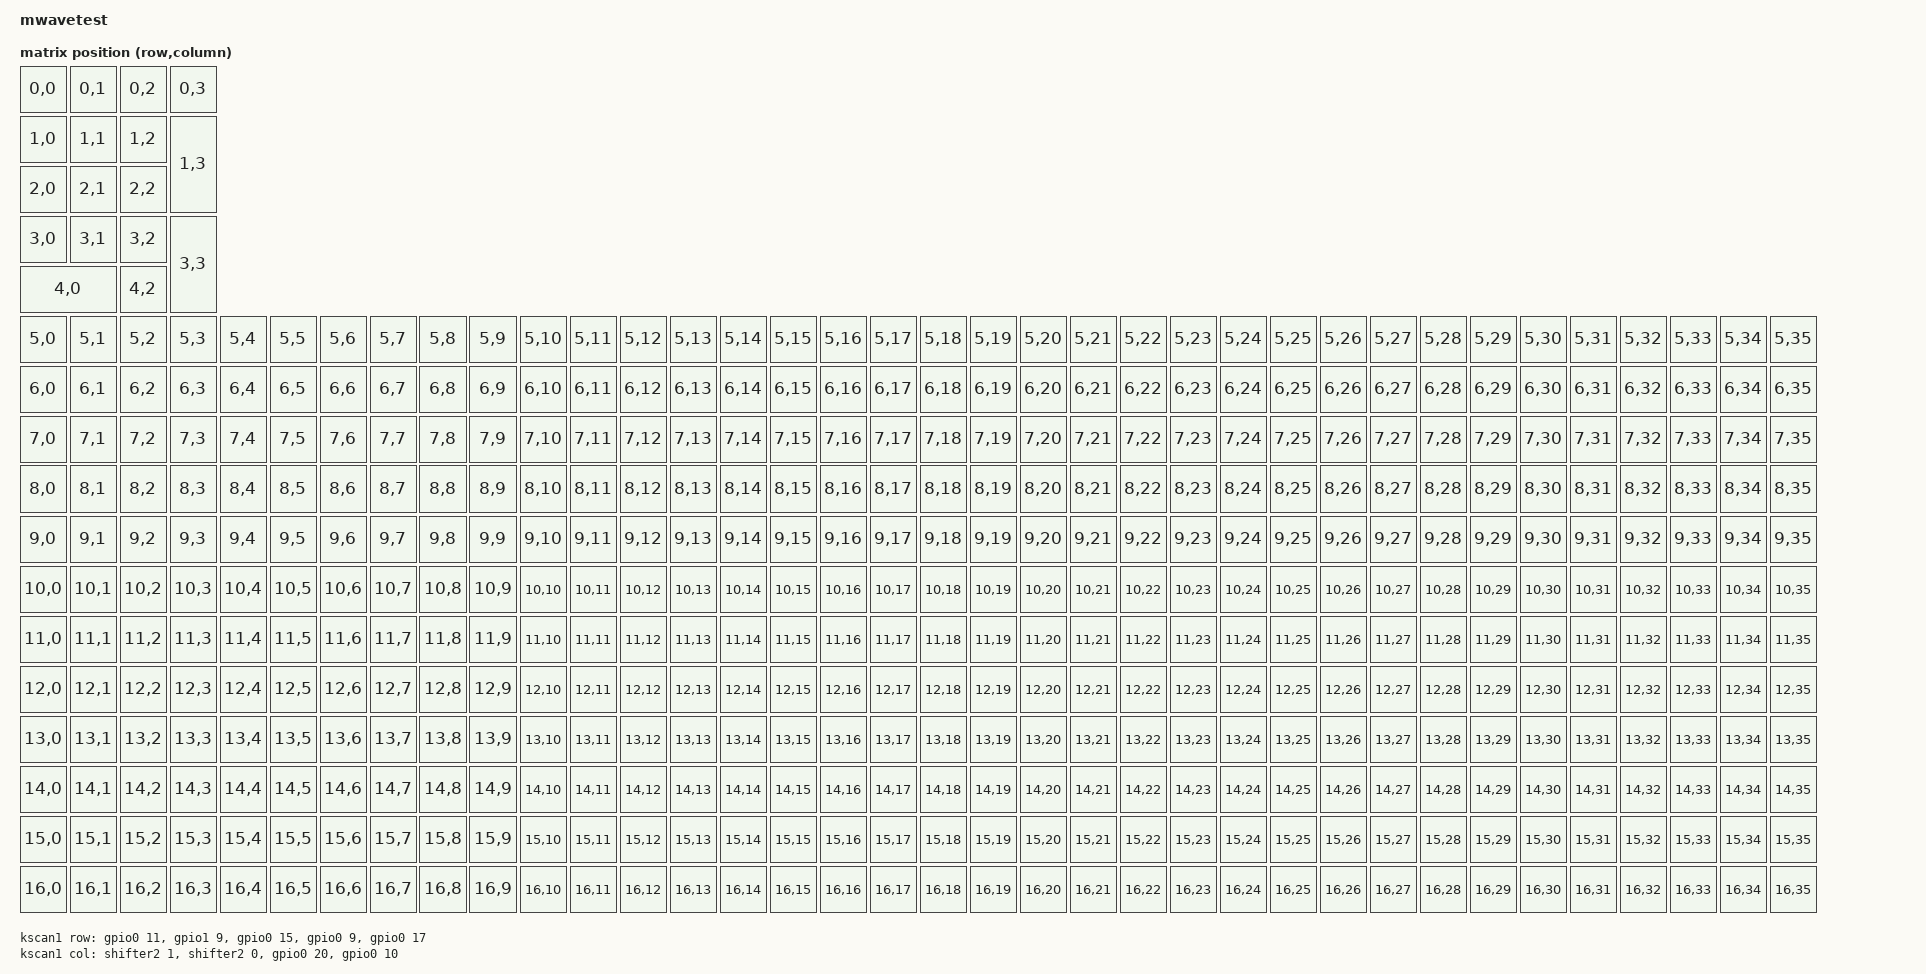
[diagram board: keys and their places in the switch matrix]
/dts-v1/;

 #include "lcp_33.dtsi"
 #include "mwave_transform.dtsi"
 #include <physical_layouts.dtsi>

 / {
     model = "mwavetest";
     compatible = "kinesis,mwavetest";
 
     chosen {
         zmk,physical-layout = &layout_0;
         zmk,indicators = &led_strip_1;
     };

    vbatt: vbatt {
        compatible = "kinesis,battery-voltage-divider";
        io-channels = <&adc 6>;
        output-ohms = <3000000>;
        full-ohms = <(2000000 + 3000000)>;
        chemistry = <ALKALINE>;
    };
   kscan1: kscan_1 {
         compatible = "zmk,kscan-gpio-matrix";
         wakeup-source;
 
         diode-direction = "col2row";
 
         col-gpios
             = <&shifter2 1 GPIO_ACTIVE_HIGH>
             , <&shifter2 0 GPIO_ACTIVE_HIGH>
             , <&gpio0 20 GPIO_ACTIVE_HIGH>
             , <&gpio0 10 GPIO_ACTIVE_HIGH>
             ;
 
         row-gpios
             = <&gpio0 11 (GPIO_ACTIVE_HIGH | GPIO_PULL_DOWN)>
             , <&gpio1 9 (GPIO_ACTIVE_HIGH | GPIO_PULL_DOWN)>
             , <&gpio0 15 (GPIO_ACTIVE_HIGH | GPIO_PULL_DOWN)>
             , <&gpio0 9 (GPIO_ACTIVE_HIGH | GPIO_PULL_DOWN)>
             , <&gpio0 17 (GPIO_ACTIVE_HIGH | GPIO_PULL_DOWN)>
             ;
     };

     numpad_transform: keymap_transform_0 {
        compatible = "zmk,matrix-transform";
        columns = <36>;
        rows = <17>;
        map = <
          RC(0,0) RC(0,1) RC(0,2) RC(0,3)
          RC(1,0) RC(1,1) RC(1,2) RC(1,3)
          RC(2,0) RC(2,1) RC(2,2)
          RC(3,0) RC(3,1) RC(3,2) RC(3,3)
               RC(4,0)    RC(4,2)   
        RC(5,0) RC(5,1) RC(5,2) RC(5,3) RC(5,4) RC(5,5) RC(5,6) RC(5,7) RC(5,8) RC(5,9) RC(5,10) RC(5,11) RC(5,12) RC(5,13) RC(5,14) RC(5,15) RC(5,16) RC(5,17) RC(5,18) RC(5,19) RC(5,20) RC(5,21) RC(5,22) RC(5,23) RC(5,24) RC(5,25) RC(5,26) RC(5,27) RC(5,28) RC(5,29) RC(5,30) RC(5,31) RC(5,32) RC(5,33) RC(5,34) RC(5,35) 
RC(6,0) RC(6,1) RC(6,2) RC(6,3) RC(6,4) RC(6,5) RC(6,6) RC(6,7) RC(6,8) RC(6,9) RC(6,10) RC(6,11) RC(6,12) RC(6,13) RC(6,14) RC(6,15) RC(6,16) RC(6,17) RC(6,18) RC(6,19) RC(6,20) RC(6,21) RC(6,22) RC(6,23) RC(6,24) RC(6,25) RC(6,26) RC(6,27) RC(6,28) RC(6,29) RC(6,30) RC(6,31) RC(6,32) RC(6,33) RC(6,34) RC(6,35) 
RC(7,0) RC(7,1) RC(7,2) RC(7,3) RC(7,4) RC(7,5) RC(7,6) RC(7,7) RC(7,8) RC(7,9) RC(7,10) RC(7,11) RC(7,12) RC(7,13) RC(7,14) RC(7,15) RC(7,16) RC(7,17) RC(7,18) RC(7,19) RC(7,20) RC(7,21) RC(7,22) RC(7,23) RC(7,24) RC(7,25) RC(7,26) RC(7,27) RC(7,28) RC(7,29) RC(7,30) RC(7,31) RC(7,32) RC(7,33) RC(7,34) RC(7,35) 
RC(8,0) RC(8,1) RC(8,2) RC(8,3) RC(8,4) RC(8,5) RC(8,6) RC(8,7) RC(8,8) RC(8,9) RC(8,10) RC(8,11) RC(8,12) RC(8,13) RC(8,14) RC(8,15) RC(8,16) RC(8,17) RC(8,18) RC(8,19) RC(8,20) RC(8,21) RC(8,22) RC(8,23) RC(8,24) RC(8,25) RC(8,26) RC(8,27) RC(8,28) RC(8,29) RC(8,30) RC(8,31) RC(8,32) RC(8,33) RC(8,34) RC(8,35) 
RC(9,0) RC(9,1) RC(9,2) RC(9,3) RC(9,4) RC(9,5) RC(9,6) RC(9,7) RC(9,8) RC(9,9) RC(9,10) RC(9,11) RC(9,12) RC(9,13) RC(9,14) RC(9,15) RC(9,16) RC(9,17) RC(9,18) RC(9,19) RC(9,20) RC(9,21) RC(9,22) RC(9,23) RC(9,24) RC(9,25) RC(9,26) RC(9,27) RC(9,28) RC(9,29) RC(9,30) RC(9,31) RC(9,32) RC(9,33) RC(9,34) RC(9,35) 
RC(10,0) RC(10,1) RC(10,2) RC(10,3) RC(10,4) RC(10,5) RC(10,6) RC(10,7) RC(10,8) RC(10,9) RC(10,10) RC(10,11) RC(10,12) RC(10,13) RC(10,14) RC(10,15) RC(10,16) RC(10,17) RC(10,18) RC(10,19) RC(10,20) RC(10,21) RC(10,22) RC(10,23) RC(10,24) RC(10,25) RC(10,26) RC(10,27) RC(10,28) RC(10,29) RC(10,30) RC(10,31) RC(10,32) RC(10,33) RC(10,34) RC(10,35) 
RC(11,0) RC(11,1) RC(11,2) RC(11,3) RC(11,4) RC(11,5) RC(11,6) RC(11,7) RC(11,8) RC(11,9) RC(11,10) RC(11,11) RC(11,12) RC(11,13) RC(11,14) RC(11,15) RC(11,16) RC(11,17) RC(11,18) RC(11,19) RC(11,20) RC(11,21) RC(11,22) RC(11,23) RC(11,24) RC(11,25) RC(11,26) RC(11,27) RC(11,28) RC(11,29) RC(11,30) RC(11,31) RC(11,32) RC(11,33) RC(11,34) RC(11,35) 
RC(12,0) RC(12,1) RC(12,2) RC(12,3) RC(12,4) RC(12,5) RC(12,6) RC(12,7) RC(12,8) RC(12,9) RC(12,10) RC(12,11) RC(12,12) RC(12,13) RC(12,14) RC(12,15) RC(12,16) RC(12,17) RC(12,18) RC(12,19) RC(12,20) RC(12,21) RC(12,22) RC(12,23) RC(12,24) RC(12,25) RC(12,26) RC(12,27) RC(12,28) RC(12,29) RC(12,30) RC(12,31) RC(12,32) RC(12,33) RC(12,34) RC(12,35) 
RC(13,0) RC(13,1) RC(13,2) RC(13,3) RC(13,4) RC(13,5) RC(13,6) RC(13,7) RC(13,8) RC(13,9) RC(13,10) RC(13,11) RC(13,12) RC(13,13) RC(13,14) RC(13,15) RC(13,16) RC(13,17) RC(13,18) RC(13,19) RC(13,20) RC(13,21) RC(13,22) RC(13,23) RC(13,24) RC(13,25) RC(13,26) RC(13,27) RC(13,28) RC(13,29) RC(13,30) RC(13,31) RC(13,32) RC(13,33) RC(13,34) RC(13,35) 
RC(14,0) RC(14,1) RC(14,2) RC(14,3) RC(14,4) RC(14,5) RC(14,6) RC(14,7) RC(14,8) RC(14,9) RC(14,10) RC(14,11) RC(14,12) RC(14,13) RC(14,14) RC(14,15) RC(14,16) RC(14,17) RC(14,18) RC(14,19) RC(14,20) RC(14,21) RC(14,22) RC(14,23) RC(14,24) RC(14,25) RC(14,26) RC(14,27) RC(14,28) RC(14,29) RC(14,30) RC(14,31) RC(14,32) RC(14,33) RC(14,34) RC(14,35) 
RC(15,0) RC(15,1) RC(15,2) RC(15,3) RC(15,4) RC(15,5) RC(15,6) RC(15,7) RC(15,8) RC(15,9) RC(15,10) RC(15,11) RC(15,12) RC(15,13) RC(15,14) RC(15,15) RC(15,16) RC(15,17) RC(15,18) RC(15,19) RC(15,20) RC(15,21) RC(15,22) RC(15,23) RC(15,24) RC(15,25) RC(15,26) RC(15,27) RC(15,28) RC(15,29) RC(15,30) RC(15,31) RC(15,32) RC(15,33) RC(15,34) RC(15,35) 
RC(16,0) RC(16,1) RC(16,2) RC(16,3) RC(16,4) RC(16,5) RC(16,6) RC(16,7) RC(16,8) RC(16,9) RC(16,10) RC(16,11) RC(16,12) RC(16,13) RC(16,14) RC(16,15) RC(16,16) RC(16,17) RC(16,18) RC(16,19) RC(16,20) RC(16,21) RC(16,22) RC(16,23) RC(16,24) RC(16,25) RC(16,26) RC(16,27) RC(16,28) RC(16,29) RC(16,30) RC(16,31) RC(16,32) RC(16,33) RC(16,34) RC(16,35) 


        >;
      };

     layout_0: layout_0 {
        compatible = "zmk,physical-layout";
        display-name = "LAYOUT";

        kscan = <&kscan1>;
        transform = <&numpad_transform>;

        keys  //                     w   h    x    y     rot    rx    ry
            = <&key_physical_attrs 100 100    0    0       0     0     0>
            , <&key_physical_attrs 100 100  100    0       0     0     0>
            , <&key_physical_attrs 100 100  200    0       0     0     0>
            , <&key_physical_attrs 100 100  300    0       0     0     0>
            , <&key_physical_attrs 100 100    0  100       0     0     0>
            , <&key_physical_attrs 100 100  100  100       0     0     0>
            , <&key_physical_attrs 100 100  200  100       0     0     0>
            , <&key_physical_attrs 100 200  300  100       0     0     0>
            , <&key_physical_attrs 100 100    0  200       0     0     0>
            , <&key_physical_attrs 100 100  100  200       0     0     0>
            , <&key_physical_attrs 100 100  200  200       0     0     0>
            , <&key_physical_attrs 100 100    0  300       0     0     0>
            , <&key_physical_attrs 100 100  100  300       0     0     0>
            , <&key_physical_attrs 100 100  200  300       0     0     0>
            , <&key_physical_attrs 100 200  300  300       0     0     0>
            , <&key_physical_attrs 200 100    0  400       0     0     0>
            , <&key_physical_attrs 100 100  200  400       0     0     0>
            , <&key_physical_attrs 100 100 0  500       0     0     0>
      , <&key_physical_attrs 100 100 100  500       0     0     0>
      , <&key_physical_attrs 100 100 200  500       0     0     0>
      , <&key_physical_attrs 100 100 300  500       0     0     0>
      , <&key_physical_attrs 100 100 400  500       0     0     0>
      , <&key_physical_attrs 100 100 500  500       0     0     0>
      , <&key_physical_attrs 100 100 600  500       0     0     0>
      , <&key_physical_attrs 100 100 700  500       0     0     0>
      , <&key_physical_attrs 100 100 800  500       0     0     0>
      , <&key_physical_attrs 100 100 900  500       0     0     0>
      , <&key_physical_attrs 100 100 1000  500       0     0     0>
      , <&key_physical_attrs 100 100 1100  500       0     0     0>
      , <&key_physical_attrs 100 100 1200  500       0     0     0>
      , <&key_physical_attrs 100 100 1300  500       0     0     0>
      , <&key_physical_attrs 100 100 1400  500       0     0     0>
      , <&key_physical_attrs 100 100 1500  500       0     0     0>
      , <&key_physical_attrs 100 100 1600  500       0     0     0>
      , <&key_physical_attrs 100 100 1700  500       0     0     0>
      , <&key_physical_attrs 100 100 1800  500       0     0     0>
      , <&key_physical_attrs 100 100 1900  500       0     0     0>
      , <&key_physical_attrs 100 100 2000  500       0     0     0>
      , <&key_physical_attrs 100 100 2100  500       0     0     0>
      , <&key_physical_attrs 100 100 2200  500       0     0     0>
      , <&key_physical_attrs 100 100 2300  500       0     0     0>
      , <&key_physical_attrs 100 100 2400  500       0     0     0>
      , <&key_physical_attrs 100 100 2500  500       0     0     0>
      , <&key_physical_attrs 100 100 2600  500       0     0     0>
      , <&key_physical_attrs 100 100 2700  500       0     0     0>
      , <&key_physical_attrs 100 100 2800  500       0     0     0>
      , <&key_physical_attrs 100 100 2900  500       0     0     0>
      , <&key_physical_attrs 100 100 3000  500       0     0     0>
      , <&key_physical_attrs 100 100 3100  500       0     0     0>
      , <&key_physical_attrs 100 100 3200  500       0     0     0>
      , <&key_physical_attrs 100 100 3300  500       0     0     0>
      , <&key_physical_attrs 100 100 3400  500       0     0     0>
      , <&key_physical_attrs 100 100 3500  500       0     0     0>
      , <&key_physical_attrs 100 100 0  600       0     0     0>
      , <&key_physical_attrs 100 100 100  600       0     0     0>
      , <&key_physical_attrs 100 100 200  600       0     0     0>
      , <&key_physical_attrs 100 100 300  600       0     0     0>
      , <&key_physical_attrs 100 100 400  600       0     0     0>
      , <&key_physical_attrs 100 100 500  600       0     0     0>
      , <&key_physical_attrs 100 100 600  600       0     0     0>
      , <&key_physical_attrs 100 100 700  600       0     0     0>
      , <&key_physical_attrs 100 100 800  600       0     0     0>
      , <&key_physical_attrs 100 100 900  600       0     0     0>
      , <&key_physical_attrs 100 100 1000  600       0     0     0>
      , <&key_physical_attrs 100 100 1100  600       0     0     0>
      , <&key_physical_attrs 100 100 1200  600       0     0     0>
      , <&key_physical_attrs 100 100 1300  600       0     0     0>
      , <&key_physical_attrs 100 100 1400  600       0     0     0>
      , <&key_physical_attrs 100 100 1500  600       0     0     0>
      , <&key_physical_attrs 100 100 1600  600       0     0     0>
      , <&key_physical_attrs 100 100 1700  600       0     0     0>
      , <&key_physical_attrs 100 100 1800  600       0     0     0>
      , <&key_physical_attrs 100 100 1900  600       0     0     0>
      , <&key_physical_attrs 100 100 2000  600       0     0     0>
      , <&key_physical_attrs 100 100 2100  600       0     0     0>
      , <&key_physical_attrs 100 100 2200  600       0     0     0>
      , <&key_physical_attrs 100 100 2300  600       0     0     0>
      , <&key_physical_attrs 100 100 2400  600       0     0     0>
      , <&key_physical_attrs 100 100 2500  600       0     0     0>
      , <&key_physical_attrs 100 100 2600  600       0     0     0>
      , <&key_physical_attrs 100 100 2700  600       0     0     0>
      , <&key_physical_attrs 100 100 2800  600       0     0     0>
      , <&key_physical_attrs 100 100 2900  600       0     0     0>
      , <&key_physical_attrs 100 100 3000  600       0     0     0>
      , <&key_physical_attrs 100 100 3100  600       0     0     0>
      , <&key_physical_attrs 100 100 3200  600       0     0     0>
      , <&key_physical_attrs 100 100 3300  600       0     0     0>
      , <&key_physical_attrs 100 100 3400  600       0     0     0>
      , <&key_physical_attrs 100 100 3500  600       0     0     0>
      , <&key_physical_attrs 100 100 0  700       0     0     0>
      , <&key_physical_attrs 100 100 100  700       0     0     0>
      , <&key_physical_attrs 100 100 200  700       0     0     0>
      , <&key_physical_attrs 100 100 300  700       0     0     0>
      , <&key_physical_attrs 100 100 400  700       0     0     0>
      , <&key_physical_attrs 100 100 500  700       0     0     0>
      , <&key_physical_attrs 100 100 600  700       0     0     0>
      , <&key_physical_attrs 100 100 700  700       0     0     0>
      , <&key_physical_attrs 100 100 800  700       0     0     0>
      , <&key_physical_attrs 100 100 900  700       0     0     0>
      , <&key_physical_attrs 100 100 1000  700       0     0     0>
      , <&key_physical_attrs 100 100 1100  700       0     0     0>
      , <&key_physical_attrs 100 100 1200  700       0     0     0>
      , <&key_physical_attrs 100 100 1300  700       0     0     0>
      , <&key_physical_attrs 100 100 1400  700       0     0     0>
      , <&key_physical_attrs 100 100 1500  700       0     0     0>
      , <&key_physical_attrs 100 100 1600  700       0     0     0>
      , <&key_physical_attrs 100 100 1700  700       0     0     0>
      , <&key_physical_attrs 100 100 1800  700       0     0     0>
      , <&key_physical_attrs 100 100 1900  700       0     0     0>
      , <&key_physical_attrs 100 100 2000  700       0     0     0>
      , <&key_physical_attrs 100 100 2100  700       0     0     0>
      , <&key_physical_attrs 100 100 2200  700       0     0     0>
      , <&key_physical_attrs 100 100 2300  700       0     0     0>
      , <&key_physical_attrs 100 100 2400  700       0     0     0>
      , <&key_physical_attrs 100 100 2500  700       0     0     0>
      , <&key_physical_attrs 100 100 2600  700       0     0     0>
      , <&key_physical_attrs 100 100 2700  700       0     0     0>
      , <&key_physical_attrs 100 100 2800  700       0     0     0>
      , <&key_physical_attrs 100 100 2900  700       0     0     0>
      , <&key_physical_attrs 100 100 3000  700       0     0     0>
      , <&key_physical_attrs 100 100 3100  700       0     0     0>
      , <&key_physical_attrs 100 100 3200  700       0     0     0>
      , <&key_physical_attrs 100 100 3300  700       0     0     0>
      , <&key_physical_attrs 100 100 3400  700       0     0     0>
      , <&key_physical_attrs 100 100 3500  700       0     0     0>
      , <&key_physical_attrs 100 100 0  800       0     0     0>
      , <&key_physical_attrs 100 100 100  800       0     0     0>
      , <&key_physical_attrs 100 100 200  800       0     0     0>
      , <&key_physical_attrs 100 100 300  800       0     0     0>
      , <&key_physical_attrs 100 100 400  800       0     0     0>
      , <&key_physical_attrs 100 100 500  800       0     0     0>
      , <&key_physical_attrs 100 100 600  800       0     0     0>
      , <&key_physical_attrs 100 100 700  800       0     0     0>
      , <&key_physical_attrs 100 100 800  800       0     0     0>
      , <&key_physical_attrs 100 100 900  800       0     0     0>
      , <&key_physical_attrs 100 100 1000  800       0     0     0>
      , <&key_physical_attrs 100 100 1100  800       0     0     0>
      , <&key_physical_attrs 100 100 1200  800       0     0     0>
      , <&key_physical_attrs 100 100 1300  800       0     0     0>
      , <&key_physical_attrs 100 100 1400  800       0     0     0>
      , <&key_physical_attrs 100 100 1500  800       0     0     0>
      , <&key_physical_attrs 100 100 1600  800       0     0     0>
      , <&key_physical_attrs 100 100 1700  800       0     0     0>
      , <&key_physical_attrs 100 100 1800  800       0     0     0>
      , <&key_physical_attrs 100 100 1900  800       0     0     0>
      , <&key_physical_attrs 100 100 2000  800       0     0     0>
      , <&key_physical_attrs 100 100 2100  800       0     0     0>
      , <&key_physical_attrs 100 100 2200  800       0     0     0>
      , <&key_physical_attrs 100 100 2300  800       0     0     0>
      , <&key_physical_attrs 100 100 2400  800       0     0     0>
      , <&key_physical_attrs 100 100 2500  800       0     0     0>
      , <&key_physical_attrs 100 100 2600  800       0     0     0>
      , <&key_physical_attrs 100 100 2700  800       0     0     0>
      , <&key_physical_attrs 100 100 2800  800       0     0     0>
      , <&key_physical_attrs 100 100 2900  800       0     0     0>
      , <&key_physical_attrs 100 100 3000  800       0     0     0>
      , <&key_physical_attrs 100 100 3100  800       0     0     0>
      , <&key_physical_attrs 100 100 3200  800       0     0     0>
      , <&key_physical_attrs 100 100 3300  800       0     0     0>
      , <&key_physical_attrs 100 100 3400  800       0     0     0>
      , <&key_physical_attrs 100 100 3500  800       0     0     0>
      , <&key_physical_attrs 100 100 0  900       0     0     0>
      , <&key_physical_attrs 100 100 100  900       0     0     0>
      , <&key_physical_attrs 100 100 200  900       0     0     0>
      , <&key_physical_attrs 100 100 300  900       0     0     0>
      , <&key_physical_attrs 100 100 400  900       0     0     0>
      , <&key_physical_attrs 100 100 500  900       0     0     0>
      , <&key_physical_attrs 100 100 600  900       0     0     0>
      , <&key_physical_attrs 100 100 700  900       0     0     0>
      , <&key_physical_attrs 100 100 800  900       0     0     0>
      , <&key_physical_attrs 100 100 900  900       0     0     0>
      , <&key_physical_attrs 100 100 1000  900       0     0     0>
      , <&key_physical_attrs 100 100 1100  900       0     0     0>
      , <&key_physical_attrs 100 100 1200  900       0     0     0>
      , <&key_physical_attrs 100 100 1300  900       0     0     0>
      , <&key_physical_attrs 100 100 1400  900       0     0     0>
      , <&key_physical_attrs 100 100 1500  900       0     0     0>
      , <&key_physical_attrs 100 100 1600  900       0     0     0>
      , <&key_physical_attrs 100 100 1700  900       0     0     0>
      , <&key_physical_attrs 100 100 1800  900       0     0     0>
      , <&key_physical_attrs 100 100 1900  900       0     0     0>
      , <&key_physical_attrs 100 100 2000  900       0     0     0>
      , <&key_physical_attrs 100 100 2100  900       0     0     0>
      , <&key_physical_attrs 100 100 2200  900       0     0     0>
      , <&key_physical_attrs 100 100 2300  900       0     0     0>
      , <&key_physical_attrs 100 100 2400  900       0     0     0>
      , <&key_physical_attrs 100 100 2500  900       0     0     0>
      , <&key_physical_attrs 100 100 2600  900       0     0     0>
      , <&key_physical_attrs 100 100 2700  900       0     0     0>
      , <&key_physical_attrs 100 100 2800  900       0     0     0>
      , <&key_physical_attrs 100 100 2900  900       0     0     0>
      , <&key_physical_attrs 100 100 3000  900       0     0     0>
      , <&key_physical_attrs 100 100 3100  900       0     0     0>
      , <&key_physical_attrs 100 100 3200  900       0     0     0>
      , <&key_physical_attrs 100 100 3300  900       0     0     0>
      , <&key_physical_attrs 100 100 3400  900       0     0     0>
      , <&key_physical_attrs 100 100 3500  900       0     0     0>
      , <&key_physical_attrs 100 100 0  1000       0     0     0>
      , <&key_physical_attrs 100 100 100  1000       0     0     0>
      , <&key_physical_attrs 100 100 200  1000       0     0     0>
      , <&key_physical_attrs 100 100 300  1000       0     0     0>
      , <&key_physical_attrs 100 100 400  1000       0     0     0>
      , <&key_physical_attrs 100 100 500  1000       0     0     0>
      , <&key_physical_attrs 100 100 600  1000       0     0     0>
      , <&key_physical_attrs 100 100 700  1000       0     0     0>
      , <&key_physical_attrs 100 100 800  1000       0     0     0>
      , <&key_physical_attrs 100 100 900  1000       0     0     0>
      , <&key_physical_attrs 100 100 1000  1000       0     0     0>
      , <&key_physical_attrs 100 100 1100  1000       0     0     0>
      , <&key_physical_attrs 100 100 1200  1000       0     0     0>
      , <&key_physical_attrs 100 100 1300  1000       0     0     0>
      , <&key_physical_attrs 100 100 1400  1000       0     0     0>
      , <&key_physical_attrs 100 100 1500  1000       0     0     0>
      , <&key_physical_attrs 100 100 1600  1000       0     0     0>
      , <&key_physical_attrs 100 100 1700  1000       0     0     0>
      , <&key_physical_attrs 100 100 1800  1000       0     0     0>
      , <&key_physical_attrs 100 100 1900  1000       0     0     0>
      , <&key_physical_attrs 100 100 2000  1000       0     0     0>
      , <&key_physical_attrs 100 100 2100  1000       0     0     0>
      , <&key_physical_attrs 100 100 2200  1000       0     0     0>
      , <&key_physical_attrs 100 100 2300  1000       0     0     0>
      , <&key_physical_attrs 100 100 2400  1000       0     0     0>
      , <&key_physical_attrs 100 100 2500  1000       0     0     0>
      , <&key_physical_attrs 100 100 2600  1000       0     0     0>
      , <&key_physical_attrs 100 100 2700  1000       0     0     0>
      , <&key_physical_attrs 100 100 2800  1000       0     0     0>
      , <&key_physical_attrs 100 100 2900  1000       0     0     0>
      , <&key_physical_attrs 100 100 3000  1000       0     0     0>
      , <&key_physical_attrs 100 100 3100  1000       0     0     0>
      , <&key_physical_attrs 100 100 3200  1000       0     0     0>
      , <&key_physical_attrs 100 100 3300  1000       0     0     0>
      , <&key_physical_attrs 100 100 3400  1000       0     0     0>
      , <&key_physical_attrs 100 100 3500  1000       0     0     0>
      , <&key_physical_attrs 100 100 0  1100       0     0     0>
      , <&key_physical_attrs 100 100 100  1100       0     0     0>
      , <&key_physical_attrs 100 100 200  1100       0     0     0>
      , <&key_physical_attrs 100 100 300  1100       0     0     0>
      , <&key_physical_attrs 100 100 400  1100       0     0     0>
      , <&key_physical_attrs 100 100 500  1100       0     0     0>
      , <&key_physical_attrs 100 100 600  1100       0     0     0>
      , <&key_physical_attrs 100 100 700  1100       0     0     0>
      , <&key_physical_attrs 100 100 800  1100       0     0     0>
      , <&key_physical_attrs 100 100 900  1100       0     0     0>
      , <&key_physical_attrs 100 100 1000  1100       0     0     0>
      , <&key_physical_attrs 100 100 1100  1100       0     0     0>
      , <&key_physical_attrs 100 100 1200  1100       0     0     0>
      , <&key_physical_attrs 100 100 1300  1100       0     0     0>
      , <&key_physical_attrs 100 100 1400  1100       0     0     0>
      , <&key_physical_attrs 100 100 1500  1100       0     0     0>
      , <&key_physical_attrs 100 100 1600  1100       0     0     0>
      , <&key_physical_attrs 100 100 1700  1100       0     0     0>
      , <&key_physical_attrs 100 100 1800  1100       0     0     0>
      , <&key_physical_attrs 100 100 1900  1100       0     0     0>
      , <&key_physical_attrs 100 100 2000  1100       0     0     0>
      , <&key_physical_attrs 100 100 2100  1100       0     0     0>
      , <&key_physical_attrs 100 100 2200  1100       0     0     0>
      , <&key_physical_attrs 100 100 2300  1100       0     0     0>
      , <&key_physical_attrs 100 100 2400  1100       0     0     0>
      , <&key_physical_attrs 100 100 2500  1100       0     0     0>
      , <&key_physical_attrs 100 100 2600  1100       0     0     0>
      , <&key_physical_attrs 100 100 2700  1100       0     0     0>
      , <&key_physical_attrs 100 100 2800  1100       0     0     0>
      , <&key_physical_attrs 100 100 2900  1100       0     0     0>
      , <&key_physical_attrs 100 100 3000  1100       0     0     0>
      , <&key_physical_attrs 100 100 3100  1100       0     0     0>
      , <&key_physical_attrs 100 100 3200  1100       0     0     0>
      , <&key_physical_attrs 100 100 3300  1100       0     0     0>
      , <&key_physical_attrs 100 100 3400  1100       0     0     0>
      , <&key_physical_attrs 100 100 3500  1100       0     0     0>
      , <&key_physical_attrs 100 100 0  1200       0     0     0>
      , <&key_physical_attrs 100 100 100  1200       0     0     0>
      , <&key_physical_attrs 100 100 200  1200       0     0     0>
      , <&key_physical_attrs 100 100 300  1200       0     0     0>
      , <&key_physical_attrs 100 100 400  1200       0     0     0>
      , <&key_physical_attrs 100 100 500  1200       0     0     0>
      , <&key_physical_attrs 100 100 600  1200       0     0     0>
      , <&key_physical_attrs 100 100 700  1200       0     0     0>
      , <&key_physical_attrs 100 100 800  1200       0     0     0>
      , <&key_physical_attrs 100 100 900  1200       0     0     0>
      , <&key_physical_attrs 100 100 1000  1200       0     0     0>
      , <&key_physical_attrs 100 100 1100  1200       0     0     0>
      , <&key_physical_attrs 100 100 1200  1200       0     0     0>
      , <&key_physical_attrs 100 100 1300  1200       0     0     0>
      , <&key_physical_attrs 100 100 1400  1200       0     0     0>
      , <&key_physical_attrs 100 100 1500  1200       0     0     0>
      , <&key_physical_attrs 100 100 1600  1200       0     0     0>
      , <&key_physical_attrs 100 100 1700  1200       0     0     0>
      , <&key_physical_attrs 100 100 1800  1200       0     0     0>
      , <&key_physical_attrs 100 100 1900  1200       0     0     0>
      , <&key_physical_attrs 100 100 2000  1200       0     0     0>
      , <&key_physical_attrs 100 100 2100  1200       0     0     0>
      , <&key_physical_attrs 100 100 2200  1200       0     0     0>
      , <&key_physical_attrs 100 100 2300  1200       0     0     0>
      , <&key_physical_attrs 100 100 2400  1200       0     0     0>
      , <&key_physical_attrs 100 100 2500  1200       0     0     0>
      , <&key_physical_attrs 100 100 2600  1200       0     0     0>
      , <&key_physical_attrs 100 100 2700  1200       0     0     0>
      , <&key_physical_attrs 100 100 2800  1200       0     0     0>
      , <&key_physical_attrs 100 100 2900  1200       0     0     0>
      , <&key_physical_attrs 100 100 3000  1200       0     0     0>
      , <&key_physical_attrs 100 100 3100  1200       0     0     0>
      , <&key_physical_attrs 100 100 3200  1200       0     0     0>
      , <&key_physical_attrs 100 100 3300  1200       0     0     0>
      , <&key_physical_attrs 100 100 3400  1200       0     0     0>
      , <&key_physical_attrs 100 100 3500  1200       0     0     0>
      , <&key_physical_attrs 100 100 0  1300       0     0     0>
      , <&key_physical_attrs 100 100 100  1300       0     0     0>
      , <&key_physical_attrs 100 100 200  1300       0     0     0>
      , <&key_physical_attrs 100 100 300  1300       0     0     0>
      , <&key_physical_attrs 100 100 400  1300       0     0     0>
      , <&key_physical_attrs 100 100 500  1300       0     0     0>
      , <&key_physical_attrs 100 100 600  1300       0     0     0>
      , <&key_physical_attrs 100 100 700  1300       0     0     0>
      , <&key_physical_attrs 100 100 800  1300       0     0     0>
      , <&key_physical_attrs 100 100 900  1300       0     0     0>
      , <&key_physical_attrs 100 100 1000  1300       0     0     0>
      , <&key_physical_attrs 100 100 1100  1300       0     0     0>
      , <&key_physical_attrs 100 100 1200  1300       0     0     0>
      , <&key_physical_attrs 100 100 1300  1300       0     0     0>
      , <&key_physical_attrs 100 100 1400  1300       0     0     0>
      , <&key_physical_attrs 100 100 1500  1300       0     0     0>
      , <&key_physical_attrs 100 100 1600  1300       0     0     0>
      , <&key_physical_attrs 100 100 1700  1300       0     0     0>
      , <&key_physical_attrs 100 100 1800  1300       0     0     0>
      , <&key_physical_attrs 100 100 1900  1300       0     0     0>
      , <&key_physical_attrs 100 100 2000  1300       0     0     0>
      , <&key_physical_attrs 100 100 2100  1300       0     0     0>
      , <&key_physical_attrs 100 100 2200  1300       0     0     0>
      , <&key_physical_attrs 100 100 2300  1300       0     0     0>
      , <&key_physical_attrs 100 100 2400  1300       0     0     0>
      , <&key_physical_attrs 100 100 2500  1300       0     0     0>
      , <&key_physical_attrs 100 100 2600  1300       0     0     0>
      , <&key_physical_attrs 100 100 2700  1300       0     0     0>
      , <&key_physical_attrs 100 100 2800  1300       0     0     0>
      , <&key_physical_attrs 100 100 2900  1300       0     0     0>
      , <&key_physical_attrs 100 100 3000  1300       0     0     0>
      , <&key_physical_attrs 100 100 3100  1300       0     0     0>
      , <&key_physical_attrs 100 100 3200  1300       0     0     0>
      , <&key_physical_attrs 100 100 3300  1300       0     0     0>
      , <&key_physical_attrs 100 100 3400  1300       0     0     0>
      , <&key_physical_attrs 100 100 3500  1300       0     0     0>
      , <&key_physical_attrs 100 100 0  1400       0     0     0>
      , <&key_physical_attrs 100 100 100  1400       0     0     0>
      , <&key_physical_attrs 100 100 200  1400       0     0     0>
      , <&key_physical_attrs 100 100 300  1400       0     0     0>
      , <&key_physical_attrs 100 100 400  1400       0     0     0>
      , <&key_physical_attrs 100 100 500  1400       0     0     0>
      , <&key_physical_attrs 100 100 600  1400       0     0     0>
      , <&key_physical_attrs 100 100 700  1400       0     0     0>
      , <&key_physical_attrs 100 100 800  1400       0     0     0>
      , <&key_physical_attrs 100 100 900  1400       0     0     0>
      , <&key_physical_attrs 100 100 1000  1400       0     0     0>
      , <&key_physical_attrs 100 100 1100  1400       0     0     0>
      , <&key_physical_attrs 100 100 1200  1400       0     0     0>
      , <&key_physical_attrs 100 100 1300  1400       0     0     0>
      , <&key_physical_attrs 100 100 1400  1400       0     0     0>
      , <&key_physical_attrs 100 100 1500  1400       0     0     0>
      , <&key_physical_attrs 100 100 1600  1400       0     0     0>
      , <&key_physical_attrs 100 100 1700  1400       0     0     0>
      , <&key_physical_attrs 100 100 1800  1400       0     0     0>
      , <&key_physical_attrs 100 100 1900  1400       0     0     0>
      , <&key_physical_attrs 100 100 2000  1400       0     0     0>
      , <&key_physical_attrs 100 100 2100  1400       0     0     0>
      , <&key_physical_attrs 100 100 2200  1400       0     0     0>
      , <&key_physical_attrs 100 100 2300  1400       0     0     0>
      , <&key_physical_attrs 100 100 2400  1400       0     0     0>
      , <&key_physical_attrs 100 100 2500  1400       0     0     0>
      , <&key_physical_attrs 100 100 2600  1400       0     0     0>
      , <&key_physical_attrs 100 100 2700  1400       0     0     0>
      , <&key_physical_attrs 100 100 2800  1400       0     0     0>
      , <&key_physical_attrs 100 100 2900  1400       0     0     0>
      , <&key_physical_attrs 100 100 3000  1400       0     0     0>
      , <&key_physical_attrs 100 100 3100  1400       0     0     0>
      , <&key_physical_attrs 100 100 3200  1400       0     0     0>
      , <&key_physical_attrs 100 100 3300  1400       0     0     0>
      , <&key_physical_attrs 100 100 3400  1400       0     0     0>
      , <&key_physical_attrs 100 100 3500  1400       0     0     0>
      , <&key_physical_attrs 100 100 0  1500       0     0     0>
      , <&key_physical_attrs 100 100 100  1500       0     0     0>
      , <&key_physical_attrs 100 100 200  1500       0     0     0>
      , <&key_physical_attrs 100 100 300  1500       0     0     0>
      , <&key_physical_attrs 100 100 400  1500       0     0     0>
      , <&key_physical_attrs 100 100 500  1500       0     0     0>
      , <&key_physical_attrs 100 100 600  1500       0     0     0>
      , <&key_physical_attrs 100 100 700  1500       0     0     0>
      , <&key_physical_attrs 100 100 800  1500       0     0     0>
      , <&key_physical_attrs 100 100 900  1500       0     0     0>
      , <&key_physical_attrs 100 100 1000  1500       0     0     0>
      , <&key_physical_attrs 100 100 1100  1500       0     0     0>
      , <&key_physical_attrs 100 100 1200  1500       0     0     0>
      , <&key_physical_attrs 100 100 1300  1500       0     0     0>
      , <&key_physical_attrs 100 100 1400  1500       0     0     0>
      , <&key_physical_attrs 100 100 1500  1500       0     0     0>
      , <&key_physical_attrs 100 100 1600  1500       0     0     0>
      , <&key_physical_attrs 100 100 1700  1500       0     0     0>
      , <&key_physical_attrs 100 100 1800  1500       0     0     0>
      , <&key_physical_attrs 100 100 1900  1500       0     0     0>
      , <&key_physical_attrs 100 100 2000  1500       0     0     0>
      , <&key_physical_attrs 100 100 2100  1500       0     0     0>
      , <&key_physical_attrs 100 100 2200  1500       0     0     0>
      , <&key_physical_attrs 100 100 2300  1500       0     0     0>
      , <&key_physical_attrs 100 100 2400  1500       0     0     0>
      , <&key_physical_attrs 100 100 2500  1500       0     0     0>
      , <&key_physical_attrs 100 100 2600  1500       0     0     0>
      , <&key_physical_attrs 100 100 2700  1500       0     0     0>
      , <&key_physical_attrs 100 100 2800  1500       0     0     0>
      , <&key_physical_attrs 100 100 2900  1500       0     0     0>
      , <&key_physical_attrs 100 100 3000  1500       0     0     0>
      , <&key_physical_attrs 100 100 3100  1500       0     0     0>
      , <&key_physical_attrs 100 100 3200  1500       0     0     0>
      , <&key_physical_attrs 100 100 3300  1500       0     0     0>
      , <&key_physical_attrs 100 100 3400  1500       0     0     0>
      , <&key_physical_attrs 100 100 3500  1500       0     0     0>
      , <&key_physical_attrs 100 100 0  1600       0     0     0>
      , <&key_physical_attrs 100 100 100  1600       0     0     0>
      , <&key_physical_attrs 100 100 200  1600       0     0     0>
      , <&key_physical_attrs 100 100 300  1600       0     0     0>
      , <&key_physical_attrs 100 100 400  1600       0     0     0>
      , <&key_physical_attrs 100 100 500  1600       0     0     0>
      , <&key_physical_attrs 100 100 600  1600       0     0     0>
      , <&key_physical_attrs 100 100 700  1600       0     0     0>
      , <&key_physical_attrs 100 100 800  1600       0     0     0>
      , <&key_physical_attrs 100 100 900  1600       0     0     0>
      , <&key_physical_attrs 100 100 1000  1600       0     0     0>
      , <&key_physical_attrs 100 100 1100  1600       0     0     0>
      , <&key_physical_attrs 100 100 1200  1600       0     0     0>
      , <&key_physical_attrs 100 100 1300  1600       0     0     0>
      , <&key_physical_attrs 100 100 1400  1600       0     0     0>
      , <&key_physical_attrs 100 100 1500  1600       0     0     0>
      , <&key_physical_attrs 100 100 1600  1600       0     0     0>
      , <&key_physical_attrs 100 100 1700  1600       0     0     0>
      , <&key_physical_attrs 100 100 1800  1600       0     0     0>
      , <&key_physical_attrs 100 100 1900  1600       0     0     0>
      , <&key_physical_attrs 100 100 2000  1600       0     0     0>
      , <&key_physical_attrs 100 100 2100  1600       0     0     0>
      , <&key_physical_attrs 100 100 2200  1600       0     0     0>
      , <&key_physical_attrs 100 100 2300  1600       0     0     0>
      , <&key_physical_attrs 100 100 2400  1600       0     0     0>
      , <&key_physical_attrs 100 100 2500  1600       0     0     0>
      , <&key_physical_attrs 100 100 2600  1600       0     0     0>
      , <&key_physical_attrs 100 100 2700  1600       0     0     0>
      , <&key_physical_attrs 100 100 2800  1600       0     0     0>
      , <&key_physical_attrs 100 100 2900  1600       0     0     0>
      , <&key_physical_attrs 100 100 3000  1600       0     0     0>
      , <&key_physical_attrs 100 100 3100  1600       0     0     0>
      , <&key_physical_attrs 100 100 3200  1600       0     0     0>
      , <&key_physical_attrs 100 100 3300  1600       0     0     0>
      , <&key_physical_attrs 100 100 3400  1600       0     0     0>
      , <&key_physical_attrs 100 100 3500  1600       0     0     0>

            ;
    };
 
     led_0: led_0 {
         compatible = "gpio-leds";
         red_led: led_0r {
             gpios = <&shifter2 5 GPIO_ACTIVE_LOW>;
         };
         green_led: led_0g {
             gpios = <&shifter2 6 GPIO_ACTIVE_LOW>;
         };
         blue_led: led_0b {
             gpios = <&shifter2 7 GPIO_ACTIVE_LOW>;
         };
     };
 
     led_1: led_1 {
         compatible = "gpio-leds";
         red_led1: led_1r {
             gpios = <&shifter2 2 GPIO_ACTIVE_LOW>;
         };
         green_led1: led_1g {
             gpios = <&shifter2 3 GPIO_ACTIVE_LOW>;
         };
         blue_led1: led_1b {
             gpios = <&shifter2 4 GPIO_ACTIVE_LOW>;
         };
     };
 
     led_strip_1: gpio_led_strip {
         compatible = "zmk,gpio-led-strip";
         chain-length = <2>;
         led-0 {
             led = <&led_0>;
         };
         led-1 {
             led = <&led_1>;
         };
     };
};

/delete-node/ &shifter;

&spi0 {
    status = "okay";
    compatible = "nordic,nrf-spim";
    pinctrl-0 = <&spi0_default>;
    pinctrl-1 = <&spi0_sleep>;
    pinctrl-names = "default", "sleep";
    cs-gpios = <&gpio0 31 GPIO_ACTIVE_LOW>;
	shifter2: 595@0 {
		compatible = "zmk,gpio-595";
		status = "okay";
		gpio-controller;
		spi-max-frequency = <200000>;
		reg = <0>;
		#gpio-cells = <2>;
		ngpios = <8>;
	};
};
